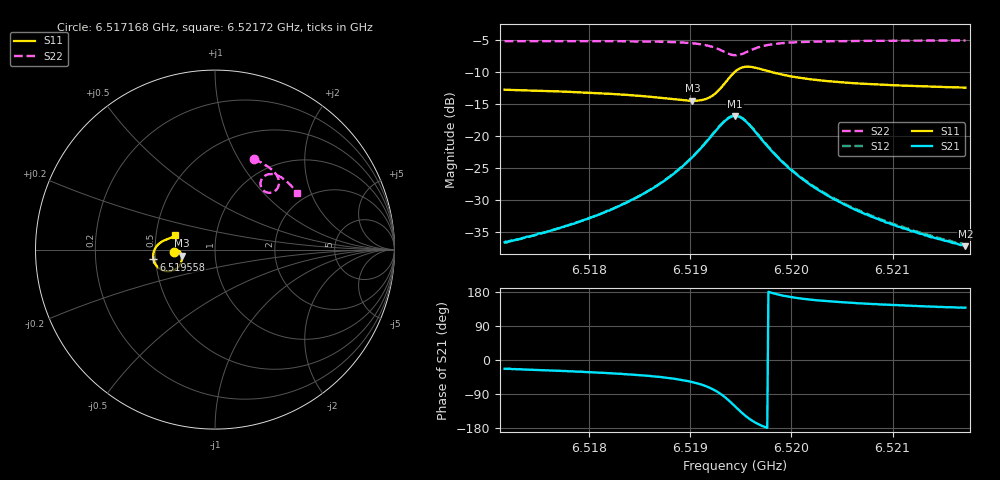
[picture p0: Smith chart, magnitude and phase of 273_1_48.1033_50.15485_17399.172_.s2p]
#  HZ  S  RI  R  50.00
! Rohde & Schwarz Vector Network Analyzer
! Rohde-Schwarz,ZNB20-2Port,1311601062101988,3.16
! Created: UTC 12/23/2023, 4:01:59 AM
! freq[Hz]  re:S11  im:S11  re:S21  im:S21  re:S12  im:S12  re:S22  im:S22
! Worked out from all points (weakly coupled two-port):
!   401 points, 6.517168 GHz to 6.52172 GHz, reference 50 ohm
!   highest |S21| = -16.88 dB at 6.519444 GHz (marker M1); lowest = -37.2 dB at 6.52172 GHz (marker M2)
!   lowest |S11| = -14.5 dB at 6.519023 GHz (marker M3), VSWR 1.46, Z = 34.3 - j2.35 ohm
!   |S11| at or under -10 dB: start of sweep to 6.519442 GHz; 6.5198 GHz to end of sweep
!   |S22| runs from -7.4 to -5.1 dB; largest |S21 - S12| = 0.0044
!   S11 on the Smith chart (normalised r, x): 6.517168 GHz: 0.63, -0.02; 6.519558 GHz: 0.49, -0.06; 6.52172 GHz: 0.63, +0.11
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6.5171684e9  -0.2291 -0.0135  0.0136 -0.00583  0.0137 -0.00532  0.2152 0.5047
6.5175552e9  -0.2245 -0.00814  0.0156 -0.00803  0.016 -0.00754  0.2438 0.492
6.5179307e9  -0.2188 -0.00418  0.0187 -0.0112  0.019 -0.0107  0.2713 0.4772
6.5183744e9  -0.2092 -0.00287  0.0239 -0.0185  0.0246 -0.0179  0.3048 0.455
6.518693e9  -0.1988 -0.00823  0.03 -0.0294  0.0309 -0.0286  0.3296 0.4328
6.5188637e9  -0.1919 -0.0167  0.0337 -0.0406  0.035 -0.0397  0.3428 0.4159
6.519023e9  -0.1854 -0.033  0.0359 -0.0581  0.0379 -0.0573  0.3536 0.3932
6.5191368e9  -0.1845 -0.0541  0.0333 -0.0785  0.0358 -0.0782  0.3565 0.3704
6.5192164e9  -0.1905 -0.0757  0.0244 -0.0983  0.0276 -0.0982  0.3523 0.35
6.5192733e9  -0.2024 -0.0941  0.0112 -0.1138  0.0145 -0.1145  0.3426 0.3344
6.5193529e9  -0.2366 -0.1167  -0.0228 -0.131  -0.0191 -0.1327  0.3162 0.3179
6.519444e9  -0.2965 -0.113  -0.0762 -0.1213  -0.0734 -0.1245  0.2742 0.326
6.5195009e9  -0.3277 -0.0878  -0.1013 -0.0959  -0.0994 -0.0995  0.2572 0.3476
6.5195577e9  -0.3428 -0.0546  -0.1109 -0.0652  -0.1099 -0.0689  0.2536 0.373
6.5196715e9  -0.337 -0.000394  -0.0998 -0.0196  -0.1001 -0.0227  0.2732 0.4077
6.5197853e9  -0.3171 0.0281  -0.0798 0.00148  -0.0805 -0.000735  0.2988 0.4199
6.5199787e9  -0.2897 0.0478  -0.0545 0.0128  -0.0555 0.0113  0.3326 0.4188
6.5202063e9  -0.2699 0.0565  -0.0381 0.0147  -0.0388 0.0138  0.36 0.4081
6.5205704e9  -0.2518 0.0634  -0.0246 0.0134  -0.0253 0.013  0.3908 0.3872
6.5209686e9  -0.2399 0.0691  -0.0172 0.0118  -0.0178 0.0116  0.4168 0.3635
6.5213782e9  -0.231 0.0745  -0.0126 0.0102  -0.0133 0.0101  0.4397 0.3385
6.5217195e9  -0.2249 0.0791  -0.0103 0.00922  -0.0107 0.00924  0.4567 0.3172
